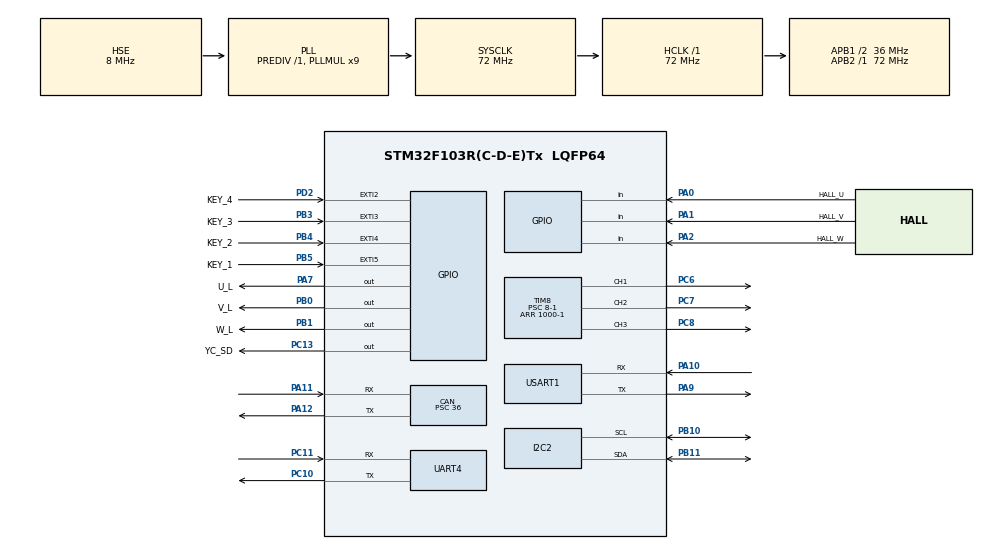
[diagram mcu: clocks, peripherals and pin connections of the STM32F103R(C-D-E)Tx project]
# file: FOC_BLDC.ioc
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CAN.ABOM=ENABLE
CAN.AWUM=ENABLE
CAN.BS1=CAN_BS1_4TQ
CAN.BS2=CAN_BS2_5TQ
CAN.CalculateBaudRate=100000
CAN.CalculateTimeBit=10000
CAN.CalculateTimeQuantum=1000.0
CAN.Prescaler=36
Mcu.Family=STM32F1
Mcu.Name=STM32F103R(C-D-E)Tx
Mcu.Package=LQFP64
NVIC.EXTI2_IRQn=true\:3\:0\:true\:false\:true\:true\:true\:true
NVIC.EXTI3_IRQn=true\:3\:0\:true\:false\:true\:true\:true\:true
NVIC.EXTI4_IRQn=true\:3\:0\:true\:false\:true\:true\:true\:true
NVIC.EXTI9_5_IRQn=true\:3\:0\:true\:false\:true\:true\:true\:true
NVIC.PriorityGroup=NVIC_PRIORITYGROUP_4
NVIC.TIM7_IRQn=true\:0\:0\:false\:false\:false\:true\:true\:true
NVIC.TIM8_UP_IRQn=true\:4\:0\:true\:false\:true\:true\:true\:true
NVIC.UART4_IRQn=true\:4\:0\:true\:false\:false\:true\:true\:true
PA0-WKUP.GPIO_Label=HALL_U
PA0-WKUP.GPIO_Mode=GPIO_MODE_INPUT
PA0-WKUP.GPIO_PuPd=GPIO_NOPULL
PA0-WKUP.Signal=GPIO_Input
PA1.GPIO_Label=HALL_V
PA1.GPIO_Mode=GPIO_MODE_INPUT
PA1.GPIO_PuPd=GPIO_NOPULL
PA1.Signal=GPIO_Input
PA10.Mode=Asynchronous
PA10.Signal=USART1_RX
PA11.Mode=CAN_Activate
PA11.Signal=CAN_RX
PA12.Mode=CAN_Activate
PA12.Signal=CAN_TX
PA13.Mode=Serial_Wire
PA13.Signal=SYS_JTMS-SWDIO
PA14.Mode=Serial_Wire
PA14.Signal=SYS_JTCK-SWCLK
PA2.GPIO_Label=HALL_W
PA2.GPIO_Mode=GPIO_MODE_INPUT
PA2.GPIO_PuPd=GPIO_NOPULL
PA2.Signal=GPIO_Input
PA7.GPIO_Label=U_L
PA7.GPIO_ModeDefaultOutputPP=GPIO_MODE_OUTPUT_PP
PA7.GPIO_PuPd=GPIO_NOPULL
PA7.GPIO_Speed=GPIO_SPEED_FREQ_HIGH
PA7.PinState=GPIO_PIN_RESET
PA7.Signal=GPIO_Output
PA9.Mode=Asynchronous
PA9.Signal=USART1_TX
PB0.GPIO_Label=V_L
PB0.GPIO_ModeDefaultOutputPP=GPIO_MODE_OUTPUT_PP
PB0.GPIO_PuPd=GPIO_NOPULL
PB0.GPIO_Speed=GPIO_SPEED_FREQ_HIGH
PB0.PinState=GPIO_PIN_RESET
PB0.Signal=GPIO_Output
PB1.GPIO_Label=W_L
PB1.GPIO_ModeDefaultOutputPP=GPIO_MODE_OUTPUT_PP
PB1.GPIO_PuPd=GPIO_NOPULL
PB1.GPIO_Speed=GPIO_SPEED_FREQ_HIGH
PB1.PinState=GPIO_PIN_RESET
PB1.Signal=GPIO_Output
PB10.Mode=I2C
PB10.Signal=I2C2_SCL
PB11.Mode=I2C
PB11.Signal=I2C2_SDA
PB3.GPIO_Label=KEY_3
PB3.GPIO_ModeDefaultEXTI=GPIO_MODE_IT_FALLING
PB3.GPIO_PuPd=GPIO_PULLUP
PB3.Signal=GPXTI3
PB4.GPIO_Label=KEY_2
PB4.GPIO_ModeDefaultEXTI=GPIO_MODE_IT_FALLING
PB4.GPIO_PuPd=GPIO_PULLUP
PB4.Signal=GPXTI4
PB5.GPIO_Label=KEY_1
PB5.GPIO_ModeDefaultEXTI=GPIO_MODE_IT_FALLING
PB5.GPIO_PuPd=GPIO_PULLUP
PB5.Signal=GPXTI5
PC10.Mode=Asynchronous
PC10.Signal=UART4_TX
PC11.Mode=Asynchronous
PC11.Signal=UART4_RX
PC13-TAMPER-RTC.GPIO_Label=YC_SD
PC13-TAMPER-RTC.GPIO_ModeDefaultOutputPP=GPIO_MODE_OUTPUT_PP
PC13-TAMPER-RTC.GPIO_PuPd=GPIO_NOPULL
PC13-TAMPER-RTC.GPIO_Speed=GPIO_SPEED_FREQ_HIGH
PC13-TAMPER-RTC.PinState=GPIO_PIN_RESET
PC13-TAMPER-RTC.Signal=GPIO_Output
PC14-OSC32_IN.Mode=LSE-External-Oscillator
PC14-OSC32_IN.Signal=RCC_OSC32_IN
PC15-OSC32_OUT.Mode=LSE-External-Oscillator
PC15-OSC32_OUT.Signal=RCC_OSC32_OUT
PC6.Signal=S_TIM8_CH1
PC7.Signal=S_TIM8_CH2
PC8.Signal=S_TIM8_CH3
PD0-OSC_IN.Mode=HSE-External-Oscillator
PD0-OSC_IN.Signal=RCC_OSC_IN
PD1-OSC_OUT.Mode=HSE-External-Oscillator
PD1-OSC_OUT.Signal=RCC_OSC_OUT
PD2.GPIO_Label=KEY_4
PD2.GPIO_ModeDefaultEXTI=GPIO_MODE_IT_FALLING
PD2.GPIO_PuPd=GPIO_PULLUP
PD2.Signal=GPXTI2
ProjectManager.HeapSize=0x200
ProjectManager.StackSize=0x400
ProjectManager.TargetToolchain=MDK-ARM V5.32
RCC.AHBFreq_Value=72000000
RCC.APB1CLKDivider=RCC_HCLK_DIV2
RCC.APB1Freq_Value=36000000
RCC.APB1TimFreq_Value=72000000
RCC.APB2Freq_Value=72000000
RCC.APB2TimFreq_Value=72000000
RCC.HCLKFreq_Value=72000000
RCC.PLLMUL=RCC_PLL_MUL9
RCC.PLLSourceVirtual=RCC_PLLSOURCE_HSE
RCC.SYSCLKFreq_VALUE=72000000
RCC.SYSCLKSource=RCC_SYSCLKSOURCE_PLLCLK
RCC.USBFreq_Value=72000000
SH.S_TIM8_CH1.0=TIM8_CH1,PWM Generation1 CH1
SH.S_TIM8_CH2.0=TIM8_CH2,PWM Generation2 CH2
SH.S_TIM8_CH3.0=TIM8_CH3,PWM Generation3 CH3
TIM7.Period=175-1
TIM7.Prescaler=720-1
TIM8.Channel-PWM\ Generation1\ CH1=TIM_CHANNEL_1
TIM8.Channel-PWM\ Generation2\ CH2=TIM_CHANNEL_2
TIM8.Channel-PWM\ Generation3\ CH3=TIM_CHANNEL_3
TIM8.Period=1000-1
TIM8.Prescaler=8-1
UART4.VirtualMode=Asynchronous
USART1.VirtualMode=VM_ASYNC
VP_TIM7_VS_ClockSourceINT.Mode=Enable_Timer
VP_TIM8_VS_ClockSourceINT.Mode=Internal
board=custom

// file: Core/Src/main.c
/* USER CODE BEGIN Header */
/**
 ******************************************************************************
 * @file           : main.c
 * @brief          : Main program body
 ******************************************************************************
 * @attention
 *
 * Copyright (c) 2025 STMicroelectronics.
 * All rights reserved.
 *
 * This software is licensed under terms that can be found in the LICENSE file
 * in the root directory of this software component.
 * If no LICENSE file comes with this software, it is provided AS-IS.
 *
 ******************************************************************************
 */
/* USER CODE END Header */
#include "main.h"
#include "can.h"
#include "i2c.h"
#include "tim.h"
#include "usart.h"
#include "gpio.h"

/* USER CODE BEGIN Includes */
#include "Com_Debug.h"
#include "APP_Key.h"
#include "APP_Display.h"
#include "APP_BLDC.h"
#include "APP_Modbus.h"
#include "Int_CAN.h"
/* USER CODE END Includes */

void SystemClock_Config(void);

int main(void)
{

    /* MCU Configuration--------------------------------------------------------*/

    /* Reset of all peripherals, Initializes the Flash interface and the Systick. */
    HAL_Init();

    /* Configure the system clock */
    SystemClock_Config();

    /* Initialize all configured peripherals */
    MX_GPIO_Init();
    MX_USART1_UART_Init();
    MX_I2C2_Init();
    MX_TIM8_Init();
    MX_TIM7_Init();
    MX_UART4_Init();
    MX_CAN_Init();
    /* USER CODE BEGIN 2 */
    debug_printfln(">>>>>>>>>>>>>>>>>>>>>>>>> BLCD <<<<<<<<<<<<<<<<<<<<<<<<<");
    APP_Display_Init();
    // APP_BLDC_Init();
    //  CAN 初始化
    Int_CAN_Init();
    // >>>>>>>>>>>>>>>>>>>>>>>>>>>>>>>>>>>>>>>>>>>> 启动 Modbus <<<<<<<<<<<<<<<<<<<<<<<<<<<<<<<<<<<<<<<<<<<<<
    // APP_Modbus_Start(bldc_id);

    /* USER CODE END 2 */

    /* Infinite loop */
    /* USER CODE BEGIN WHILE */
    CAN_MSG msgs[3]   = {0};
    uint8_t msg_count = 0;
    while (1) {
        // APP_Key_Process();
        // APP_Display_Show();
        Int_CAN_Receive(msgs, &msg_count);
        if (msg_count > 0) {
            for (uint8_t i = 0; i < msg_count; i++) {
                printf("ID: %d, Len:%d ,Data: %s\n", msgs[i].id, msgs[i].len, msgs[i].data);
                // 8个字节 第0字节:1转动 0停止  第1字节:0正转 1反转  第2-3字节 转速:低八位在前
                // printf("BLDC_Status:%d,BLDC_Dir:%d,BLDC_Speed:%d \n", msgs[i].data[0], msgs[i].data[1], (msgs[i].data[2]) | (msgs[i].data[3] << 8));
            }
            msg_count = 0;
        }

        // APP_Modbus_Process();
        /* USER CODE END WHILE */

    }
}

void SystemClock_Config(void)
{
    RCC_OscInitTypeDef RCC_OscInitStruct = {0};
    RCC_ClkInitTypeDef RCC_ClkInitStruct = {0};

    /** Initializes the RCC Oscillators according to the specified parameters
     * in the RCC_OscInitTypeDef structure.
     */
    RCC_OscInitStruct.OscillatorType = RCC_OSCILLATORTYPE_HSE;
    RCC_OscInitStruct.HSEState       = RCC_HSE_ON;
    RCC_OscInitStruct.HSEPredivValue = RCC_HSE_PREDIV_DIV1;
    RCC_OscInitStruct.HSIState       = RCC_HSI_ON;
    RCC_OscInitStruct.PLL.PLLState   = RCC_PLL_ON;
    RCC_OscInitStruct.PLL.PLLSource  = RCC_PLLSOURCE_HSE;
    RCC_OscInitStruct.PLL.PLLMUL     = RCC_PLL_MUL9;
    if (HAL_RCC_OscConfig(&RCC_OscInitStruct) != HAL_OK) {
        Error_Handler();
    }

    /** Initializes the CPU, AHB and APB buses clocks
     */
    RCC_ClkInitStruct.ClockType      = RCC_CLOCKTYPE_HCLK | RCC_CLOCKTYPE_SYSCLK | RCC_CLOCKTYPE_PCLK1 | RCC_CLOCKTYPE_PCLK2;
    RCC_ClkInitStruct.SYSCLKSource   = RCC_SYSCLKSOURCE_PLLCLK;
    RCC_ClkInitStruct.AHBCLKDivider  = RCC_SYSCLK_DIV1;
    RCC_ClkInitStruct.APB1CLKDivider = RCC_HCLK_DIV2;
    RCC_ClkInitStruct.APB2CLKDivider = RCC_HCLK_DIV1;

    if (HAL_RCC_ClockConfig(&RCC_ClkInitStruct, FLASH_LATENCY_2) != HAL_OK) {
        Error_Handler();
    }
}

void Error_Handler(void)
{
    __disable_irq();
    while (1) {
    }
}
